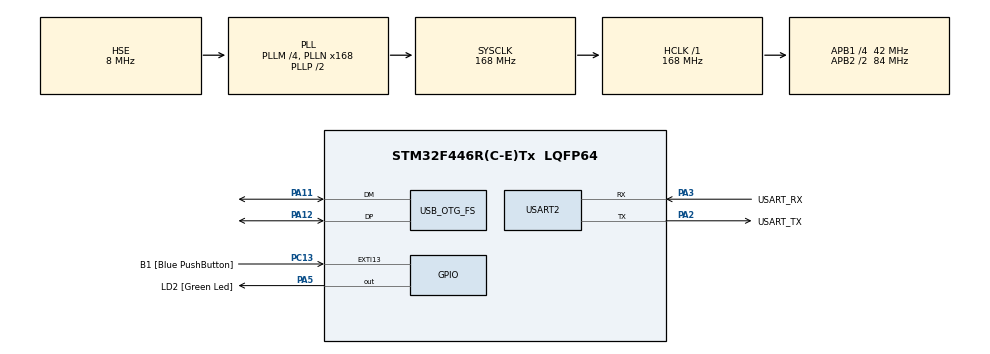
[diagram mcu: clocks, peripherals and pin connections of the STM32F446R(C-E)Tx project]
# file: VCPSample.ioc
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Mcu.Family=STM32F4
Mcu.Name=STM32F446R(C-E)Tx
Mcu.Package=LQFP64
NVIC.OTG_FS_IRQn=true\:0\:0\:false\:false\:true\:false
NVIC.PriorityGroup=NVIC_PRIORITYGROUP_0
NVIC.TIM2_IRQn=true\:0\:0\:false\:false\:true\:true
NVIC.USART2_IRQn=true\:0\:0\:false\:false\:true\:true
PA11.Mode=Device_Only
PA11.Signal=USB_OTG_FS_DM
PA12.Mode=Device_Only
PA12.Signal=USB_OTG_FS_DP
PA13.GPIO_Label=TMS
PA13.Mode=Serial_Wire
PA13.Signal=SYS_JTMS-SWDIO
PA14.GPIO_Label=TCK
PA14.Mode=Serial_Wire
PA14.Signal=SYS_JTCK-SWCLK
PA2.GPIO_Label=USART_TX
PA2.Mode=Asynchronous
PA2.Signal=USART2_TX
PA3.GPIO_Label=USART_RX
PA3.Mode=Asynchronous
PA3.Signal=USART2_RX
PA5.GPIO_Label=LD2 [Green Led]
PA5.Signal=GPIO_Output
PB3.GPIO_Label=SWO
PB3.Signal=SYS_JTDO-SWO
PC13.GPIO_Label=B1 [Blue PushButton]
PC13.GPIO_ModeDefaultEXTI=GPIO_MODE_IT_FALLING
PC13.Signal=GPXTI13
PC14-OSC32_IN.Mode=LSE-External-Oscillator
PC14-OSC32_IN.Signal=RCC_OSC32_IN
PC15-OSC32_OUT.Mode=LSE-External-Oscillator
PC15-OSC32_OUT.Signal=RCC_OSC32_OUT
PH0-OSC_IN.Mode=HSE-External-Oscillator
PH0-OSC_IN.Signal=RCC_OSC_IN
PH1-OSC_OUT.Mode=HSE-External-Oscillator
PH1-OSC_OUT.Signal=RCC_OSC_OUT
ProjectManager.HeapSize=0x400
ProjectManager.StackSize=0x800
ProjectManager.TargetToolchain=MDK-ARM V5
RCC.48MHZClocksFreq_Value=84000000
RCC.AHBFreq_Value=168000000
RCC.APB1CLKDivider=RCC_HCLK_DIV4
RCC.APB1Freq_Value=42000000
RCC.APB1TimFreq_Value=84000000
RCC.APB2CLKDivider=RCC_HCLK_DIV2
RCC.APB2Freq_Value=84000000
RCC.APB2TimFreq_Value=168000000
RCC.CortexFreq_Value=168000000
RCC.FLatency-AdvancedSettings=FLASH_LATENCY_5
RCC.HCLKFreq_Value=168000000
RCC.HSE_VALUE=8000000
RCC.HSI_VALUE=16000000
RCC.PLLM=4
RCC.PLLN=168
RCC.PLLQ=7
RCC.SYSCLKFreq_VALUE=168000000
RCC.SYSCLKSource=RCC_SYSCLKSOURCE_PLLCLK
RCC.USBFreq_Value=48000000
RCC.VCOOutputFreq_Value=336000000
TIM2.Period=500 - 1
TIM2.Prescaler=84 - 1
USART2.VirtualMode=VM_ASYNC
USB_DEVICE.APP_RX_DATA_SIZE-CDC_FS=64
USB_DEVICE.APP_TX_DATA_SIZE-CDC_FS=64
USB_DEVICE.CLASS_NAME_FS=CDC
USB_DEVICE.LANGID_STRING-CDC_FS=1041
USB_DEVICE.VirtualMode-CDC_FS=Cdc
USB_DEVICE.VirtualModeFS=Cdc_FS
USB_OTG_FS.VirtualMode=Device_Only
VP_TIM2_VS_ClockSourceINT.Mode=Internal
VP_USB_DEVICE_VS_USB_DEVICE_CDC_FS.Mode=CDC_FS
board=NUCLEO-F446RE

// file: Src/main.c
/**
  ******************************************************************************
  * @file           : main.c
  * @brief          : Main program body
  ******************************************************************************
  * This notice applies to any and all portions of this file
  * that are not between comment pairs USER CODE BEGIN and
  * USER CODE END. Other portions of this file, whether
  * inserted by the user or by software development tools
  * are owned by their respective copyright owners.
  *
  * Copyright (c) 2018 STMicroelectronics International N.V.
  * All rights reserved.
  *
  * Redistribution and use in source and binary forms, with or without
  * modification, are permitted, provided that the following conditions are met:
  *
  * 1. Redistribution of source code must retain the above copyright notice,
  *    this list of conditions and the following disclaimer.
  * 2. Redistributions in binary form must reproduce the above copyright notice,
  *    this list of conditions and the following disclaimer in the documentation
  *    and/or other materials provided with the distribution.
  * 3. Neither the name of STMicroelectronics nor the names of other
  *    contributors to this software may be used to endorse or promote products
  *    derived from this software without specific written permission.
  * 4. This software, including modifications and/or derivative works of this
  *    software, must execute solely and exclusively on microcontroller or
  *    microprocessor devices manufactured by or for STMicroelectronics.
  * 5. Redistribution and use of this software other than as permitted under
  *    this license is void and will automatically terminate your rights under
  *    this license.
  *
  * THIS SOFTWARE IS PROVIDED BY STMICROELECTRONICS AND CONTRIBUTORS "AS IS"
  * AND ANY EXPRESS, IMPLIED OR STATUTORY WARRANTIES, INCLUDING, BUT NOT
  * LIMITED TO, THE IMPLIED WARRANTIES OF MERCHANTABILITY, FITNESS FOR A
  * PARTICULAR PURPOSE AND NON-INFRINGEMENT OF THIRD PARTY INTELLECTUAL PROPERTY
  * RIGHTS ARE DISCLAIMED TO THE FULLEST EXTENT PERMITTED BY LAW. IN NO EVENT
  * SHALL STMICROELECTRONICS OR CONTRIBUTORS BE LIABLE FOR ANY DIRECT, INDIRECT,
  * INCIDENTAL, SPECIAL, EXEMPLARY, OR CONSEQUENTIAL DAMAGES (INCLUDING, BUT NOT
  * LIMITED TO, PROCUREMENT OF SUBSTITUTE GOODS OR SERVICES; LOSS OF USE, DATA,
  * OR PROFITS; OR BUSINESS INTERRUPTION) HOWEVER CAUSED AND ON ANY THEORY OF
  * LIABILITY, WHETHER IN CONTRACT, STRICT LIABILITY, OR TORT (INCLUDING
  * NEGLIGENCE OR OTHERWISE) ARISING IN ANY WAY OUT OF THE USE OF THIS SOFTWARE,
  * EVEN IF ADVISED OF THE POSSIBILITY OF SUCH DAMAGE.
  *
  ******************************************************************************
  */
#include "main.h"
#include "stm32f4xx_hal.h"
#include "usb_device.h"

/* USER CODE BEGIN Includes */
#include "usbd_cdc_if.h"
/* USER CODE END Includes */

TIM_HandleTypeDef htim2;

UART_HandleTypeDef huart2;

/* USER CODE BEGIN PV */
/* Private variables ---------------------------------------------------------*/
#ifdef __GNUC__
#define PUTCHAR_PROTOTYPE int __io_putchar(int ch)
#else
#define PUTCHAR_PROTOTYPE int fputc(int ch, FILE *f)
#endif /* __GNUC__ */
PUTCHAR_PROTOTYPE
{
  /* Place your implementation of fputc here */
  /* e.g. write a character to the USART1 and Loop until the end of transmission */
  HAL_UART_Transmit(&huart2, (uint8_t *)&ch, 1, 0xFFFF);

  return ch;
}
/* USER CODE END PV */

void SystemClock_Config(void);
static void MX_GPIO_Init(void);
static void MX_USART2_UART_Init(void);
static void MX_TIM2_Init(void);

/* USER CODE BEGIN PFP */
/* Private function prototypes -----------------------------------------------*/
void HAL_TIM_PeriodElapsedCallback(TIM_HandleTypeDef *htim)
{
	if (htim->Instance == TIM2) {
		// 500us周期で呼び出される
		static uint32_t count500us = 0;
		count500us++;
		// 500ms周期でLED反転
		if (count500us % 1000 == 0) {
			HAL_GPIO_TogglePin(LD2_GPIO_Port, LD2_Pin);
		}
	} else {
		/* Other Timer */
	}
}
/* USER CODE END PFP */

/* USER CODE BEGIN 0 */
int g_VCPRxEvent = 0;

uint8_t g_VCPRxBuffer[64];
uint16_t g_VCPRxLength = 0;

void VCP_ReceivedCallback(uint8_t *buf, uint16_t len)
{
	memcpy(g_VCPRxBuffer, buf, len);
	g_VCPRxLength = len;
	g_VCPRxEvent = 1;
}

/* USER CODE END 0 */

int main(void)
{

  /* MCU Configuration----------------------------------------------------------*/

  /* Reset of all peripherals, Initializes the Flash interface and the Systick. */
  HAL_Init();

  /* Configure the system clock */
  SystemClock_Config();

  /* Initialize all configured peripherals */
  MX_GPIO_Init();
  MX_USART2_UART_Init();
  MX_USB_DEVICE_Init();
  MX_TIM2_Init();
  /* USER CODE BEGIN 2 */
	HAL_TIM_Base_Start_IT(&htim2);
	printf("Hello World!\n");

	static char str[] = "CDC Hello World!\n";
	CDC_Transmit_FS((uint8_t*)str, strlen(str));
	HAL_Delay(500);
  /* USER CODE END 2 */

  /* Infinite loop */
  while (1)
  {

  /* USER CODE BEGIN 3 */
	  if (g_VCPRxEvent) {
		  g_VCPRxEvent = 0;
		  // エコーバック
		  CDC_Transmit_FS(g_VCPRxBuffer, g_VCPRxLength);

		  // UART非同期だと間に合わなくなった
		  //HAL_UART_Transmit_IT(&huart2, g_VCPRxBuffer, g_VCPRxLength);
		  HAL_UART_Transmit(&huart2, g_VCPRxBuffer, g_VCPRxLength, 0xFFFF);
	  }
  }
  /* USER CODE END 3 */

}

void SystemClock_Config(void)
{

  RCC_OscInitTypeDef RCC_OscInitStruct;
  RCC_ClkInitTypeDef RCC_ClkInitStruct;
  RCC_PeriphCLKInitTypeDef PeriphClkInitStruct;

    /**Configure the main internal regulator output voltage
    */
  __HAL_RCC_PWR_CLK_ENABLE();

  __HAL_PWR_VOLTAGESCALING_CONFIG(PWR_REGULATOR_VOLTAGE_SCALE1);

    /**Initializes the CPU, AHB and APB busses clocks
    */
  RCC_OscInitStruct.OscillatorType = RCC_OSCILLATORTYPE_HSE;
  RCC_OscInitStruct.HSEState = RCC_HSE_ON;
  RCC_OscInitStruct.PLL.PLLState = RCC_PLL_ON;
  RCC_OscInitStruct.PLL.PLLSource = RCC_PLLSOURCE_HSE;
  RCC_OscInitStruct.PLL.PLLM = 4;
  RCC_OscInitStruct.PLL.PLLN = 168;
  RCC_OscInitStruct.PLL.PLLP = RCC_PLLP_DIV2;
  RCC_OscInitStruct.PLL.PLLQ = 7;
  RCC_OscInitStruct.PLL.PLLR = 2;
  if (HAL_RCC_OscConfig(&RCC_OscInitStruct) != HAL_OK)
  {
    _Error_Handler(__FILE__, __LINE__);
  }

    /**Initializes the CPU, AHB and APB busses clocks
    */
  RCC_ClkInitStruct.ClockType = RCC_CLOCKTYPE_HCLK|RCC_CLOCKTYPE_SYSCLK
                              |RCC_CLOCKTYPE_PCLK1|RCC_CLOCKTYPE_PCLK2;
  RCC_ClkInitStruct.SYSCLKSource = RCC_SYSCLKSOURCE_PLLCLK;
  RCC_ClkInitStruct.AHBCLKDivider = RCC_SYSCLK_DIV1;
  RCC_ClkInitStruct.APB1CLKDivider = RCC_HCLK_DIV4;
  RCC_ClkInitStruct.APB2CLKDivider = RCC_HCLK_DIV2;

  if (HAL_RCC_ClockConfig(&RCC_ClkInitStruct, FLASH_LATENCY_5) != HAL_OK)
  {
    _Error_Handler(__FILE__, __LINE__);
  }

  PeriphClkInitStruct.PeriphClockSelection = RCC_PERIPHCLK_CLK48;
  PeriphClkInitStruct.Clk48ClockSelection = RCC_CLK48CLKSOURCE_PLLQ;
  if (HAL_RCCEx_PeriphCLKConfig(&PeriphClkInitStruct) != HAL_OK)
  {
    _Error_Handler(__FILE__, __LINE__);
  }

    /**Configure the Systick interrupt time
    */
  HAL_SYSTICK_Config(HAL_RCC_GetHCLKFreq()/1000);

    /**Configure the Systick
    */
  HAL_SYSTICK_CLKSourceConfig(SYSTICK_CLKSOURCE_HCLK);

  /* SysTick_IRQn interrupt configuration */
  HAL_NVIC_SetPriority(SysTick_IRQn, 0, 0);
}

/* TIM2 init function */
static void MX_TIM2_Init(void)
{

  TIM_ClockConfigTypeDef sClockSourceConfig;
  TIM_MasterConfigTypeDef sMasterConfig;

  htim2.Instance = TIM2;
  htim2.Init.Prescaler = 84 - 1;
  htim2.Init.CounterMode = TIM_COUNTERMODE_UP;
  htim2.Init.Period = 500 - 1;
  htim2.Init.ClockDivision = TIM_CLOCKDIVISION_DIV1;
  if (HAL_TIM_Base_Init(&htim2) != HAL_OK)
  {
    _Error_Handler(__FILE__, __LINE__);
  }

  sClockSourceConfig.ClockSource = TIM_CLOCKSOURCE_INTERNAL;
  if (HAL_TIM_ConfigClockSource(&htim2, &sClockSourceConfig) != HAL_OK)
  {
    _Error_Handler(__FILE__, __LINE__);
  }

  sMasterConfig.MasterOutputTrigger = TIM_TRGO_RESET;
  sMasterConfig.MasterSlaveMode = TIM_MASTERSLAVEMODE_DISABLE;
  if (HAL_TIMEx_MasterConfigSynchronization(&htim2, &sMasterConfig) != HAL_OK)
  {
    _Error_Handler(__FILE__, __LINE__);
  }

}

/* USART2 init function */
static void MX_USART2_UART_Init(void)
{

  huart2.Instance = USART2;
  huart2.Init.BaudRate = 115200;
  huart2.Init.WordLength = UART_WORDLENGTH_8B;
  huart2.Init.StopBits = UART_STOPBITS_1;
  huart2.Init.Parity = UART_PARITY_NONE;
  huart2.Init.Mode = UART_MODE_TX_RX;
  huart2.Init.HwFlowCtl = UART_HWCONTROL_NONE;
  huart2.Init.OverSampling = UART_OVERSAMPLING_16;
  if (HAL_UART_Init(&huart2) != HAL_OK)
  {
    _Error_Handler(__FILE__, __LINE__);
  }

}

/** Configure pins as
        * Analog
        * Input
        * Output
        * EVENT_OUT
        * EXTI
*/
static void MX_GPIO_Init(void)
{

  GPIO_InitTypeDef GPIO_InitStruct;

  /* GPIO Ports Clock Enable */
  __HAL_RCC_GPIOC_CLK_ENABLE();
  __HAL_RCC_GPIOH_CLK_ENABLE();
  __HAL_RCC_GPIOA_CLK_ENABLE();
  __HAL_RCC_GPIOB_CLK_ENABLE();

  /*Configure GPIO pin Output Level */
  HAL_GPIO_WritePin(LD2_GPIO_Port, LD2_Pin, GPIO_PIN_RESET);

  /*Configure GPIO pin : B1_Pin */
  GPIO_InitStruct.Pin = B1_Pin;
  GPIO_InitStruct.Mode = GPIO_MODE_IT_FALLING;
  GPIO_InitStruct.Pull = GPIO_NOPULL;
  HAL_GPIO_Init(B1_GPIO_Port, &GPIO_InitStruct);

  /*Configure GPIO pin : LD2_Pin */
  GPIO_InitStruct.Pin = LD2_Pin;
  GPIO_InitStruct.Mode = GPIO_MODE_OUTPUT_PP;
  GPIO_InitStruct.Pull = GPIO_NOPULL;
  GPIO_InitStruct.Speed = GPIO_SPEED_FREQ_LOW;
  HAL_GPIO_Init(LD2_GPIO_Port, &GPIO_InitStruct);

}

void _Error_Handler(char *file, int line)
{
  while(1)
  {
  }
}

/************************ (C) COPYRIGHT STMicroelectronics *****END OF FILE****/
